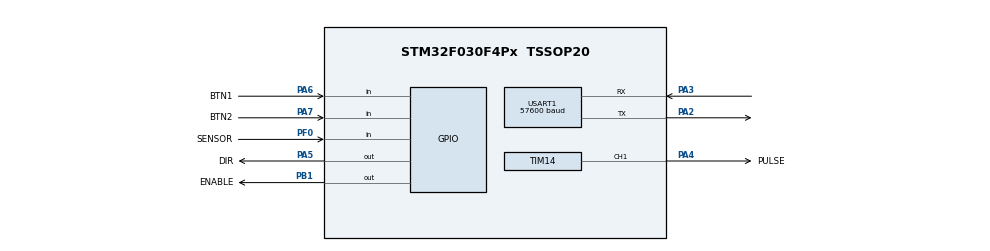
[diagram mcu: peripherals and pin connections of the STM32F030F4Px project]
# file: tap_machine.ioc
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IWDG.Prescaler=IWDG_PRESCALER_128
Mcu.Family=STM32F0
Mcu.Name=STM32F030F4Px
Mcu.Package=TSSOP20
PA13.Mode=Serial_Wire
PA13.Signal=SYS_SWDIO
PA14.Mode=Serial_Wire
PA14.Signal=SYS_SWCLK
PA2.Mode=Asynchronous
PA2.Signal=USART1_TX
PA3.Mode=Asynchronous
PA3.Signal=USART1_RX
PA4.GPIO_Label=PULSE
PA4.GPIO_PuPd=GPIO_PULLDOWN
PA4.Signal=S_TIM14_CH1
PA5.GPIO_Label=DIR
PA5.GPIO_PuPd=GPIO_PULLDOWN
PA5.Signal=GPIO_Output
PA6.GPIO_Label=BTN1
PA6.GPIO_PuPd=GPIO_PULLDOWN
PA6.Signal=GPIO_Input
PA7.GPIO_Label=BTN2
PA7.GPIO_PuPd=GPIO_PULLDOWN
PA7.Signal=GPIO_Input
PB1.GPIO_Label=ENABLE
PB1.GPIO_PuPd=GPIO_PULLDOWN
PB1.Signal=GPIO_Output
PF0-OSC_IN.GPIO_Label=SENSOR
PF0-OSC_IN.Signal=GPIO_Input
ProjectManager.HeapSize=0x100
ProjectManager.StackSize=0x400
ProjectManager.TargetToolchain=MDK-ARM V5.32
RCC.AHBFreq_Value=48000000
RCC.APB1Freq_Value=48000000
RCC.APB1TimFreq_Value=48000000
RCC.HCLKFreq_Value=48000000
RCC.PLLMUL=RCC_PLL_MUL12
RCC.SYSCLKFreq_VALUE=48000000
RCC.SYSCLKSource=RCC_SYSCLKSOURCE_PLLCLK
SH.S_TIM14_CH1.0=TIM14_CH1,PWM Generation1 CH1
TIM14.Channel=TIM_CHANNEL_1
TIM14.OCMode_PWM=TIM_OCMODE_PWM1
TIM14.Period=999
TIM14.Prescaler=47
TIM14.Pulse=499
USART1.BaudRate=57600
USART1.VirtualMode-Asynchronous=VM_ASYNC
VP_IWDG_VS_IWDG.Mode=IWDG_Activate
VP_TIM14_VS_ClockSourceINT.Mode=Enable_Timer
board=custom

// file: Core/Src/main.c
/* USER CODE BEGIN Header */
/**
  ******************************************************************************
  * @file           : main.c
  * @brief          : Main program body
  ******************************************************************************
  * @attention
  *
  * Copyright (c) 2024 STMicroelectronics.
  * All rights reserved.
  *
  * This software is licensed under terms that can be found in the LICENSE file
  * in the root directory of this software component.
  * If no LICENSE file comes with this software, it is provided AS-IS.
  *
  ******************************************************************************
  */
/* USER CODE END Header */
#include "main.h"
#include "iwdg.h"
#include "tim.h"
#include "usart.h"
#include "gpio.h"

/* USER CODE BEGIN Includes */
#include "typedef.h"
#include "drive.h"
#include <stdio.h>
/* USER CODE END Includes */

/* USER CODE BEGIN PV */
turn_data_t number_turns = {0};
encoder_data_t encoder_data = {0}; //структура с данными энкодера
/* USER CODE END PV */

void SystemClock_Config(void);
/* USER CODE BEGIN PFP */
void IWDG_Init(void);
void IWDG_Reset (void);
/* USER CODE END PFP */

int main(void)
{

  /* MCU Configuration--------------------------------------------------------*/

  /* Reset of all peripherals, Initializes the Flash interface and the Systick. */
  LL_APB1_GRP2_EnableClock(LL_APB1_GRP2_PERIPH_SYSCFG);
  LL_APB1_GRP1_EnableClock(LL_APB1_GRP1_PERIPH_PWR);

  /* SysTick_IRQn interrupt configuration */
  NVIC_SetPriority(SysTick_IRQn, 3);

  /* Configure the system clock */
  SystemClock_Config();

  /* Initialize all configured peripherals */
  MX_GPIO_Init();
  MX_TIM14_Init();
  MX_USART1_UART_Init();
  /* USER CODE BEGIN 2 */
	#ifdef __USE_IWDG
		IWDG_Init();
	#endif

	timers_init ();
	init_status_sensor ();
	drive_init ( &number_turns ) ;

/*	number_turns.TurnInMinute = 200;
	calc_period_pulse (&number_turns);*/

	#ifdef __USE_DBG
		sprintf (DBG_buffer, "start\r\n");
		DBG_PutString(DBG_buffer);
	#endif

  /* USER CODE END 2 */

  /* Infinite loop */
  /* USER CODE BEGIN WHILE */
  while (1)
  {
		main_loop (&encoder_data, &number_turns);

		#ifdef __USE_IWDG
			IWDG_Reset();
		#endif
    /* USER CODE END WHILE */

  }
}

void SystemClock_Config(void)
{
  LL_FLASH_SetLatency(LL_FLASH_LATENCY_1);
  while(LL_FLASH_GetLatency() != LL_FLASH_LATENCY_1)
  {
  }
  LL_RCC_HSI_Enable();

   /* Wait till HSI is ready */
  while(LL_RCC_HSI_IsReady() != 1)
  {

  }
  LL_RCC_HSI_SetCalibTrimming(16);
  LL_RCC_LSI_Enable();

   /* Wait till LSI is ready */
  while(LL_RCC_LSI_IsReady() != 1)
  {

  }
  LL_RCC_PLL_ConfigDomain_SYS(LL_RCC_PLLSOURCE_HSI_DIV_2, LL_RCC_PLL_MUL_12);
  LL_RCC_PLL_Enable();

   /* Wait till PLL is ready */
  while(LL_RCC_PLL_IsReady() != 1)
  {

  }
  LL_RCC_SetAHBPrescaler(LL_RCC_SYSCLK_DIV_1);
  LL_RCC_SetAPB1Prescaler(LL_RCC_APB1_DIV_1);
  LL_RCC_SetSysClkSource(LL_RCC_SYS_CLKSOURCE_PLL);

   /* Wait till System clock is ready */
  while(LL_RCC_GetSysClkSource() != LL_RCC_SYS_CLKSOURCE_STATUS_PLL)
  {

  }
  LL_Init1msTick(48000000);
  LL_SetSystemCoreClock(48000000);
  LL_RCC_SetUSARTClockSource(LL_RCC_USART1_CLKSOURCE_PCLK1);
}

/* USER CODE BEGIN 4 */

//----------------------------------------------------------------------------------------------------//
void IWDG_Init(void)
{
  LL_IWDG_Enable(IWDG);
  LL_IWDG_EnableWriteAccess(IWDG);
  LL_IWDG_SetPrescaler(IWDG, LL_IWDG_PRESCALER_128);
  LL_IWDG_SetReloadCounter(IWDG, 4095);
  while (LL_IWDG_IsReady(IWDG) != 1){}
  LL_IWDG_ReloadCounter(IWDG);
}

//----------------------------------------------------------------------------------------------------//
void IWDG_Reset (void)
{
	LL_IWDG_ReloadCounter(IWDG);
}

//----------------------------------------------------------------------------------------------------//
/* USER CODE END 4 */

void Error_Handler(void)
{
  __disable_irq();
  while (1)
  {
  }
}
